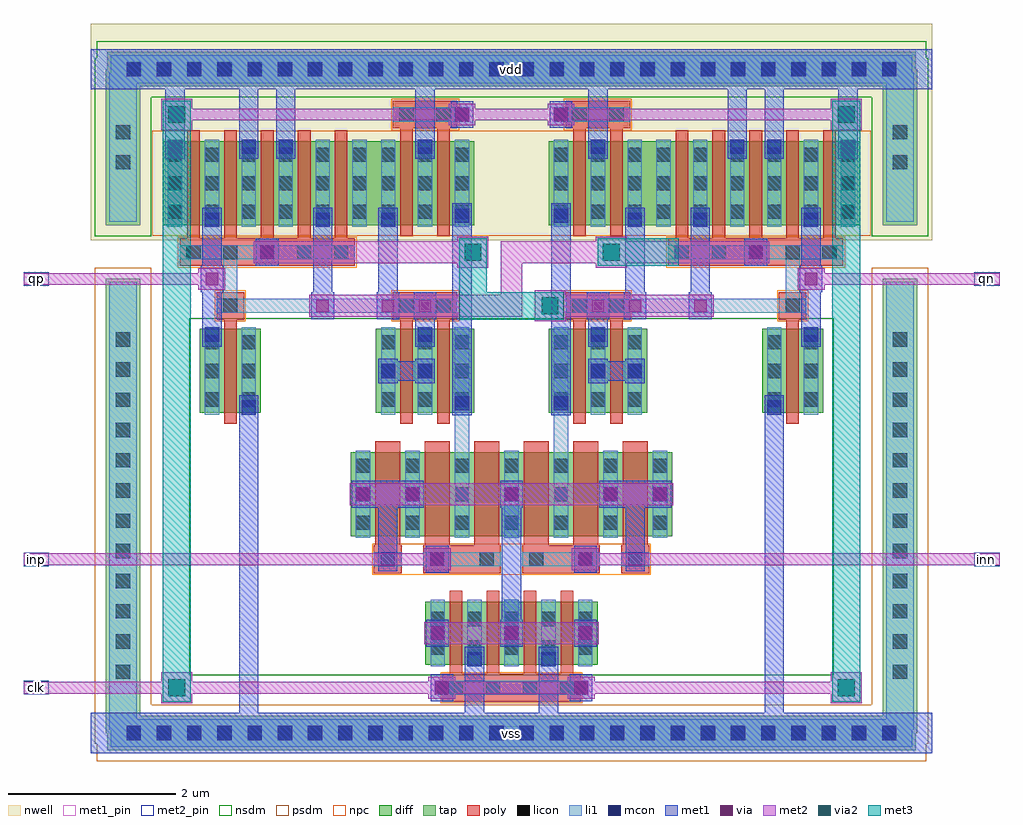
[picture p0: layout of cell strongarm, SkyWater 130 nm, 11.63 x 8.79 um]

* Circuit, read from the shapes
.subckt strongarm clk inn inp qn qp vdd vss
XM1 vss n1 qp vss sky130_fd_pr__nfet_01v8 w=1 l=0.15
XM2 n2 n2 n2 vss sky130_fd_pr__nfet_01v8 w=1 l=0.3 m=2
XM3 n3 n1 n3 vss sky130_fd_pr__nfet_01v8 w=1 l=0.15
XM4 n4 inp n2 vss sky130_fd_pr__nfet_01v8 w=1 l=0.3 m=2
XM5 n4 n1 n3 vss sky130_fd_pr__nfet_01v8 w=1 l=0.15
XM6 vss clk n2 vss sky130_fd_pr__nfet_01v8 w=0.75 l=0.15 m=4
XM7 n5 inn n2 vss sky130_fd_pr__nfet_01v8 w=1 l=0.3 m=2
XM8 n1 n3 n5 vss sky130_fd_pr__nfet_01v8 w=1 l=0.15
XM9 n1 n3 n1 vss sky130_fd_pr__nfet_01v8 w=1 l=0.15
XM10 qn n3 vss vss sky130_fd_pr__nfet_01v8 w=1 l=0.15
XM11 qp n1 vdd vdd sky130_fd_pr__pfet_01v8 w=1 l=0.15 m=2
XM12 vdd n1 vdd vdd sky130_fd_pr__pfet_01v8 w=1 l=0.15
XM13 n3 n1 vdd vdd sky130_fd_pr__pfet_01v8 w=1 l=0.15
XM14 n3 n1 n3 vdd sky130_fd_pr__pfet_01v8 w=1 l=0.15
XM15 vdd clk n3 vdd sky130_fd_pr__pfet_01v8 w=1 l=0.15
XM16 n4 clk vdd vdd sky130_fd_pr__pfet_01v8 w=1 l=0.15
XM17 vdd clk n5 vdd sky130_fd_pr__pfet_01v8 w=1 l=0.15
XM18 n1 clk vdd vdd sky130_fd_pr__pfet_01v8 w=1 l=0.15
XM19 n1 n3 n1 vdd sky130_fd_pr__pfet_01v8 w=1 l=0.15
XM20 vdd n3 n1 vdd sky130_fd_pr__pfet_01v8 w=1 l=0.15
XM21 vdd n3 vdd vdd sky130_fd_pr__pfet_01v8 w=1 l=0.15
XM22 qn n3 vdd vdd sky130_fd_pr__pfet_01v8 w=1 l=0.15 m=2
.ends

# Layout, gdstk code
import gdstk
lib = gdstk.Library(unit=1e-6, precision=1e-09)
def R(c, l, rs):  # rectangles x0, y0, x1, y1
    for r in rs: c.add(gdstk.rectangle(r[:2], r[2:], *l))
def A(c, l, x, y, w, h, nx, ny, dx, dy):  # array of equal rectangles
    R(c, l, [(x+i*dx, y+j*dy, x+i*dx+w, y+j*dy+h) for i in range(nx) for j in range(ny)])
nwell = (64, 20)
diff = (65, 20)
tap = (65, 44)
poly = (66, 20)
licon = (66, 44)
li1 = (67, 20)
mcon = (67, 44)
met1_pin = (68, 16)
met1 = (68, 20)
via = (68, 44)
met2_pin = (69, 16)
met2 = (69, 20)
via2 = (69, 44)
met3 = (70, 20)
nsdm = (93, 44)
psdm = (94, 20)
npc = (95, 20)

strongarm = lib.new_cell('strongarm')
R(strongarm, nwell, [(-5.015,6.11,5.015,8.69)])
A(strongarm, diff, -1.025, 1.055, 0.73, 0.75, 4, 1, 0.44, 0)
A(strongarm, diff, -1.915, 2.585, 0.88, 1, 6, 1, 0.59, 0)
A(strongarm, diff, -4.155, 6.29, 0.73, 1, 5, 1, 0.44, 0)
A(strongarm, diff, 1.665, 6.29, 0.73, 1, 5, 1, 0.44, 0)
R(strongarm, diff, [(-3.715,4.055,-2.985,5.055), (-1.615,4.055,-0.885,5.055), (-1.175,4.055,-0.445,5.055), (0.445,4.055,1.175,5.055), (0.885,4.055,1.615,5.055), (2.985,4.055,3.715,5.055), (-1.675,6.29,-1.605,7.29), (-1.615,6.29,-0.885,7.29), (-1.175,6.29,-0.445,7.29), (0.445,6.29,1.175,7.29), (0.885,6.29,1.615,7.29), (1.605,6.29,1.675,7.29)])
R(strongarm, tap, [(-4.815,0.035,4.815,0.445), (-4.835,0.24,-4.425,5.655), (4.425,0.24,4.835,5.655), (-4.835,6.29,-4.425,8.15), (4.425,6.29,4.835,8.15), (-4.815,7.945,4.815,8.355)])
A(strongarm, poly, -0.825, 0.615, 0.33, 0.33, 4, 1, 0.44, 0)
A(strongarm, poly, -0.505, 0.615, 0.13, 0.33, 3, 1, 0.44, 0)
A(strongarm, poly, -0.735, 0.945, 0.15, 0.99, 4, 1, 0.44, 0)
A(strongarm, poly, -1.64, 2.145, 0.33, 0.33, 6, 1, 0.59, 0)
A(strongarm, poly, -1.625, 2.475, 0.3, 1.24, 6, 1, 0.59, 0)
A(strongarm, poly, -3.955, 5.805, 0.33, 0.33, 5, 1, 0.44, 0)
A(strongarm, poly, -3.635, 5.805, 0.13, 0.33, 4, 1, 0.44, 0)
A(strongarm, poly, 1.865, 5.805, 0.33, 0.33, 5, 1, 0.44, 0)
A(strongarm, poly, 2.185, 5.805, 0.13, 0.33, 4, 1, 0.44, 0)
A(strongarm, poly, -3.865, 6.135, 0.15, 1.285, 5, 1, 0.44, 0)
A(strongarm, poly, 1.955, 6.135, 0.15, 1.285, 5, 1, 0.44, 0)
R(strongarm, poly, [(-0.73,2.145,-0.45,2.475), (0.45,2.145,0.73,2.475), (-3.425,3.925,-3.275,5.165), (-1.325,3.925,-1.175,5.165), (-0.885,3.925,-0.735,5.165), (0.735,3.925,0.885,5.165), (1.175,3.925,1.325,5.165), (3.275,3.925,3.425,5.165), (-3.515,5.165,-3.185,5.495), (-1.415,5.165,-1.085,5.495), (-1.095,5.165,-0.965,5.495), (-0.975,5.165,-0.645,5.495), (0.645,5.165,0.975,5.495), (0.965,5.165,1.095,5.495), (1.085,5.165,1.415,5.495), (3.185,5.165,3.515,5.495), (-1.325,6.16,-1.175,7.445), (-0.885,6.16,-0.735,7.445), (0.735,6.16,0.885,7.445), (1.175,6.16,1.325,7.445), (-1.415,7.445,-1.085,7.775), (-1.095,7.445,-0.965,7.775), (-0.975,7.445,-0.645,7.775), (0.645,7.445,0.975,7.775), (0.965,7.445,1.095,7.775), (1.085,7.445,1.415,7.775)])
A(strongarm, licon, -4.585, 0.155, 0.17, 0.17, 26, 2, 0.36, 7.91)
A(strongarm, licon, -0.745, 0.695, 0.17, 0.17, 4, 1, 0.44, 0)
A(strongarm, licon, -4.715, 0.885, 0.17, 0.17, 1, 12, 0, 0.36)
A(strongarm, licon, 4.545, 0.885, 0.17, 0.17, 1, 12, 0, 0.36)
A(strongarm, licon, -1.56, 2.225, 0.17, 0.17, 6, 1, 0.59, 0)
A(strongarm, licon, -1.855, 2.66, 0.17, 0.17, 1, 3, 0, 0.34)
A(strongarm, licon, 1.685, 2.66, 0.17, 0.17, 1, 3, 0, 0.34)
A(strongarm, licon, -3.655, 4.13, 0.17, 0.17, 1, 3, 0, 0.34)
A(strongarm, licon, -3.215, 4.13, 0.17, 0.17, 1, 3, 0, 0.34)
A(strongarm, licon, -1.555, 4.13, 0.17, 0.17, 1, 3, 0, 0.34)
A(strongarm, licon, -0.675, 4.13, 0.17, 0.17, 1, 3, 0, 0.34)
A(strongarm, licon, 0.505, 4.13, 0.17, 0.17, 1, 3, 0, 0.34)
A(strongarm, licon, 1.385, 4.13, 0.17, 0.17, 1, 3, 0, 0.34)
A(strongarm, licon, 3.045, 4.13, 0.17, 0.17, 1, 3, 0, 0.34)
A(strongarm, licon, 3.485, 4.13, 0.17, 0.17, 1, 3, 0, 0.34)
A(strongarm, licon, -3.875, 5.885, 0.17, 0.17, 5, 1, 0.44, 0)
A(strongarm, licon, 1.945, 5.885, 0.17, 0.17, 5, 1, 0.44, 0)
A(strongarm, licon, -4.095, 6.365, 0.17, 0.17, 1, 3, 0, 0.34)
A(strongarm, licon, -1.895, 6.365, 0.17, 0.17, 1, 3, 0, 0.34)
A(strongarm, licon, -1.555, 6.365, 0.17, 0.17, 1, 3, 0, 0.34)
A(strongarm, licon, -0.675, 6.365, 0.17, 0.17, 1, 3, 0, 0.34)
A(strongarm, licon, 0.505, 6.365, 0.17, 0.17, 1, 3, 0, 0.34)
A(strongarm, licon, 1.385, 6.365, 0.17, 0.17, 1, 3, 0, 0.34)
A(strongarm, licon, 1.725, 6.365, 0.17, 0.17, 1, 3, 0, 0.34)
A(strongarm, licon, 3.925, 6.365, 0.17, 0.17, 1, 3, 0, 0.34)
R(strongarm, licon, [(-0.965,1.175,-0.795,1.345), (-0.525,1.175,-0.355,1.345), (-0.525,1.175,-0.355,1.345), (-0.085,1.175,0.085,1.345), (-0.085,1.175,0.085,1.345), (0.355,1.175,0.525,1.345), (0.355,1.175,0.525,1.345), (0.795,1.175,0.965,1.345), (-0.965,1.515,-0.795,1.685), (-0.525,1.515,-0.355,1.685), (-0.525,1.515,-0.355,1.685), (-0.085,1.515,0.085,1.685), (-0.085,1.515,0.085,1.685), (0.355,1.515,0.525,1.685), (0.355,1.515,0.525,1.685), (0.795,1.515,0.965,1.685), (-1.265,2.66,-1.095,2.83), (-1.265,2.66,-1.095,2.83), (-0.675,2.66,-0.505,2.83), (-0.675,2.66,-0.505,2.83), (-0.085,2.66,0.085,2.83), (-0.085,2.66,0.085,2.83), (0.505,2.66,0.675,2.83), (0.505,2.66,0.675,2.83), (1.095,2.66,1.265,2.83), (1.095,2.66,1.265,2.83), (-1.265,3,-1.095,3.17), (-1.265,3,-1.095,3.17), (-0.675,3,-0.505,3.17), (-0.675,3,-0.505,3.17), (-0.085,3,0.085,3.17), (-0.085,3,0.085,3.17), (0.505,3,0.675,3.17), (0.505,3,0.675,3.17), (1.095,3,1.265,3.17), (1.095,3,1.265,3.17), (-1.265,3.34,-1.095,3.51), (-1.265,3.34,-1.095,3.51), (-0.675,3.34,-0.505,3.51), (-0.675,3.34,-0.505,3.51), (-0.085,3.34,0.085,3.51), (-0.085,3.34,0.085,3.51), (0.505,3.34,0.675,3.51), (0.505,3.34,0.675,3.51), (1.095,3.34,1.265,3.51), (1.095,3.34,1.265,3.51), (-1.115,4.13,-0.945,4.3), (-1.115,4.13,-0.945,4.3), (0.945,4.13,1.115,4.3), (0.945,4.13,1.115,4.3), (-1.115,4.47,-0.945,4.64), (-1.115,4.47,-0.945,4.64), (0.945,4.47,1.115,4.64), (0.945,4.47,1.115,4.64), (-1.115,4.81,-0.945,4.98), (-1.115,4.81,-0.945,4.98), (0.945,4.81,1.115,4.98), (0.945,4.81,1.115,4.98), (-3.435,5.245,-3.265,5.415), (-1.335,5.245,-1.165,5.415), (-0.895,5.245,-0.725,5.415), (0.725,5.245,0.895,5.415), (1.165,5.245,1.335,5.415), (3.265,5.245,3.435,5.415), (-3.655,6.365,-3.485,6.535), (-3.655,6.365,-3.485,6.535), (-3.215,6.365,-3.045,6.535), (-3.215,6.365,-3.045,6.535), (-2.775,6.365,-2.605,6.535), (-2.775,6.365,-2.605,6.535), (-2.335,6.365,-2.165,6.535), (-2.335,6.365,-2.165,6.535), (-1.115,6.365,-0.945,6.535), (-1.115,6.365,-0.945,6.535), (0.945,6.365,1.115,6.535), (0.945,6.365,1.115,6.535), (2.165,6.365,2.335,6.535), (2.165,6.365,2.335,6.535), (2.605,6.365,2.775,6.535), (2.605,6.365,2.775,6.535), (3.045,6.365,3.215,6.535), (3.045,6.365,3.215,6.535), (3.485,6.365,3.655,6.535), (3.485,6.365,3.655,6.535), (-3.655,6.705,-3.485,6.875), (-3.655,6.705,-3.485,6.875), (-3.215,6.705,-3.045,6.875), (-3.215,6.705,-3.045,6.875), (-2.775,6.705,-2.605,6.875), (-2.775,6.705,-2.605,6.875), (-2.335,6.705,-2.165,6.875), (-2.335,6.705,-2.165,6.875), (-1.115,6.705,-0.945,6.875), (-1.115,6.705,-0.945,6.875), (0.945,6.705,1.115,6.875), (0.945,6.705,1.115,6.875), (2.165,6.705,2.335,6.875), (2.165,6.705,2.335,6.875), (2.605,6.705,2.775,6.875), (2.605,6.705,2.775,6.875), (3.045,6.705,3.215,6.875), (3.045,6.705,3.215,6.875), (3.485,6.705,3.655,6.875), (3.485,6.705,3.655,6.875), (-4.715,6.955,-4.545,7.125), (4.545,6.955,4.715,7.125), (-3.655,7.045,-3.485,7.215), (-3.655,7.045,-3.485,7.215), (-3.215,7.045,-3.045,7.215), (-3.215,7.045,-3.045,7.215), (-2.775,7.045,-2.605,7.215), (-2.775,7.045,-2.605,7.215), (-2.335,7.045,-2.165,7.215), (-2.335,7.045,-2.165,7.215), (-1.115,7.045,-0.945,7.215), (-1.115,7.045,-0.945,7.215), (0.945,7.045,1.115,7.215), (0.945,7.045,1.115,7.215), (2.165,7.045,2.335,7.215), (2.165,7.045,2.335,7.215), (2.605,7.045,2.775,7.215), (2.605,7.045,2.775,7.215), (3.045,7.045,3.215,7.215), (3.045,7.045,3.215,7.215), (3.485,7.045,3.655,7.215), (3.485,7.045,3.655,7.215), (-4.715,7.315,-4.545,7.485), (4.545,7.315,4.715,7.485), (-1.335,7.525,-1.165,7.695), (-0.895,7.525,-0.725,7.695), (0.725,7.525,0.895,7.695), (1.165,7.525,1.335,7.695)])
A(strongarm, li1, -0.825, 0.695, 0.33, 0.17, 4, 1, 0.44, 0)
A(strongarm, li1, -0.505, 0.695, 0.13, 0.17, 3, 1, 0.44, 0)
A(strongarm, li1, -1.64, 2.225, 0.33, 0.17, 6, 1, 0.59, 0)
A(strongarm, li1, -3.955, 5.885, 0.33, 0.17, 5, 1, 0.44, 0)
A(strongarm, li1, -3.635, 5.885, 0.13, 0.17, 4, 1, 0.44, 0)
A(strongarm, li1, 1.865, 5.885, 0.33, 0.17, 5, 1, 0.44, 0)
A(strongarm, li1, 2.185, 5.885, 0.13, 0.17, 4, 1, 0.44, 0)
R(strongarm, li1, [(-4.775,0.075,4.775,0.405), (-4.795,0.28,-4.465,5.615), (4.465,0.28,4.795,5.615), (-0.915,0.695,0.915,0.865), (-0.965,1.035,-0.795,1.825), (-0.525,1.035,-0.355,1.825), (-0.525,1.035,-0.355,1.825), (-0.085,1.035,0.085,1.825), (-0.085,1.035,0.085,1.825), (0.355,1.035,0.525,1.825), (0.355,1.035,0.525,1.825), (0.795,1.035,0.965,1.825), (-0.73,2.225,-0.45,2.395), (0.45,2.225,0.73,2.395), (-1.855,2.565,-1.685,3.605), (-1.265,2.565,-1.095,3.605), (-1.265,2.565,-1.095,3.605), (-0.675,2.565,-0.505,3.605), (-0.675,2.565,-0.505,3.605), (-0.085,2.565,0.085,3.605), (-0.085,2.565,0.085,3.605), (0.505,2.565,0.675,3.605), (0.505,2.565,0.675,3.605), (1.095,2.565,1.265,3.605), (1.095,2.565,1.265,3.605), (1.685,2.565,1.855,3.605), (-0.675,3.595,-0.505,4.045), (0.505,3.595,0.675,4.045), (-3.655,4.035,-3.485,5.075), (-3.215,4.035,-3.045,5.075), (-1.555,4.035,-1.385,5.075), (-1.115,4.035,-0.945,5.075), (-1.115,4.035,-0.945,5.075), (-0.675,4.035,-0.505,5.075), (0.505,4.035,0.675,5.075), (0.945,4.035,1.115,5.075), (0.945,4.035,1.115,5.075), (1.385,4.035,1.555,5.075), (3.045,4.035,3.215,5.075), (3.485,4.035,3.655,5.075), (-3.515,5.245,-3.185,5.415), (-3.435,5.245,-0.725,5.415), (-1.415,5.245,-1.085,5.415), (-1.095,5.245,-0.965,5.415), (-0.975,5.245,-0.645,5.415), (0.645,5.245,0.975,5.415), (0.725,5.245,3.435,5.415), (0.965,5.245,1.095,5.415), (1.085,5.245,1.415,5.415), (3.185,5.245,3.515,5.415), (-3.435,5.33,-3.265,5.97), (3.265,5.33,3.435,5.97), (-3.875,5.885,-1.945,6.055), (1.945,5.885,3.875,6.055), (-4.095,6.27,-3.925,7.31), (-3.655,6.27,-3.485,7.31), (-3.655,6.27,-3.485,7.31), (-3.215,6.27,-3.045,7.31), (-3.215,6.27,-3.045,7.31), (-2.775,6.27,-2.605,7.31), (-2.775,6.27,-2.605,7.31), (-2.335,6.27,-2.165,7.31), (-2.335,6.27,-2.165,7.31), (-1.895,6.27,-1.725,7.31), (-1.555,6.27,-1.385,7.31), (-1.115,6.27,-0.945,7.31), (-1.115,6.27,-0.945,7.31), (-0.675,6.27,-0.505,7.31), (0.505,6.27,0.675,7.31), (0.945,6.27,1.115,7.31), (0.945,6.27,1.115,7.31), (1.385,6.27,1.555,7.31), (1.725,6.27,1.895,7.31), (2.165,6.27,2.335,7.31), (2.165,6.27,2.335,7.31), (2.605,6.27,2.775,7.31), (2.605,6.27,2.775,7.31), (3.045,6.27,3.215,7.31), (3.045,6.27,3.215,7.31), (3.485,6.27,3.655,7.31), (3.485,6.27,3.655,7.31), (3.925,6.27,4.095,7.31), (-4.795,6.33,-4.465,8.11), (4.465,6.33,4.795,8.11), (-1.415,7.525,-1.085,7.695), (-1.335,7.525,-0.505,7.695), (-1.095,7.525,-0.965,7.695), (-0.975,7.525,-0.645,7.695), (0.505,7.525,1.335,7.695), (0.645,7.525,0.975,7.695), (0.965,7.525,1.095,7.695), (1.085,7.525,1.415,7.695), (-4.775,7.985,4.775,8.315)])
A(strongarm, mcon, -4.585, 0.155, 0.17, 0.17, 26, 2, 0.36, 7.91)
A(strongarm, mcon, -0.965, 1.345, 0.17, 0.17, 3, 1, 0.88, 0)
A(strongarm, mcon, -1.265, 3, 0.17, 0.17, 3, 1, 1.18, 0)
R(strongarm, mcon, [(-0.915,0.695,-0.745,0.865), (0.745,0.695,0.915,0.865), (-0.525,1.035,-0.355,1.205), (0.355,1.035,0.525,1.205), (-1.56,2.225,-1.39,2.395), (-0.97,2.225,-0.8,2.395), (0.795,2.225,0.965,2.395), (1.39,2.225,1.56,2.395), (-1.855,3,-1.685,3.17), (1.685,3,1.855,3.17), (-3.215,4.035,-3.045,4.205), (3.045,4.035,3.215,4.205), (-0.675,4.085,-0.505,4.255), (0.505,4.085,0.675,4.255), (-1.555,4.47,-1.385,4.64), (-1.115,4.47,-0.945,4.64), (0.945,4.47,1.115,4.64), (1.385,4.47,1.555,4.64), (-3.655,4.905,-3.485,5.075), (-1.115,4.905,-0.945,5.075), (0.945,4.905,1.115,5.075), (3.485,4.905,3.655,5.075), (-2.995,5.885,-2.825,6.055), (2.825,5.885,2.995,6.055), (-3.655,6.27,-3.485,6.44), (-2.335,6.27,-2.165,6.44), (-1.555,6.27,-1.385,6.44), (1.385,6.27,1.555,6.44), (2.165,6.27,2.335,6.44), (3.485,6.27,3.655,6.44), (-0.675,6.32,-0.505,6.49), (0.505,6.32,0.675,6.49), (-4.095,7.14,-3.925,7.31), (-3.215,7.14,-3.045,7.31), (-2.775,7.14,-2.605,7.31), (-1.115,7.14,-0.945,7.31), (0.945,7.14,1.115,7.31), (2.605,7.14,2.775,7.31), (3.045,7.14,3.215,7.31), (3.925,7.14,4.095,7.31), (-0.675,7.525,-0.505,7.695), (0.505,7.525,0.675,7.695)])
R(strongarm, met1_pin, [(-0.15,0.16,0.15,0.32), (-0.15,8.07,0.15,8.23)])
A(strongarm, met1, -1.015, 1.27, 0.27, 0.32, 3, 1, 0.88, 0)
A(strongarm, met1, -1.315, 2.925, 0.27, 0.32, 3, 1, 1.18, 0)
R(strongarm, met1, [(-5.015,0,5.015,0.48), (-3.245,0.24,-3.015,4.205), (-0.555,0.24,-0.325,1.205), (0.325,0.24,0.555,1.205), (3.015,0.24,3.245,4.205), (-0.965,0.62,-0.695,0.94), (0.695,0.62,0.965,0.94), (-0.555,0.975,-0.325,1.265), (0.325,0.975,0.555,1.265), (-0.115,1.43,0.115,3.085), (-1.02,2.15,-0.75,2.47), (-1.02,2.15,-0.75,2.47), (0.745,2.15,1.015,2.47), (0.745,2.15,1.015,2.47), (-1.59,2.165,-1.36,2.455), (1.36,2.165,1.59,2.455), (-1.59,2.31,-1.36,3.085), (1.36,2.31,1.59,3.085), (-1.905,2.925,-1.635,3.245), (-1.77,2.925,-1.18,3.245), (1.18,2.925,1.77,3.245), (1.635,2.925,1.905,3.245), (-3.245,3.975,-3.015,4.265), (3.015,3.975,3.245,4.265), (-0.705,4.025,-0.475,4.315), (0.475,4.025,0.705,4.315), (-0.705,4.085,-0.475,6.49), (0.475,4.085,0.705,6.49), (-1.585,4.41,-1.355,4.7), (-1.145,4.41,-0.915,4.7), (0.915,4.41,1.145,4.7), (1.355,4.41,1.585,4.7), (-1.47,4.44,-1.03,4.67), (1.03,4.44,1.47,4.67), (-3.685,4.845,-3.455,5.135), (-1.145,4.845,-0.915,5.135), (0.915,4.845,1.145,5.135), (3.455,4.845,3.685,5.135), (-3.685,4.905,-3.455,6.44), (-1.145,4.905,-0.915,5.33), (0.915,4.905,1.145,5.33), (3.455,4.905,3.685,6.44), (-2.385,5.17,-2.115,5.49), (-2.365,5.17,-2.135,5.49), (-1.605,5.17,-1.335,5.49), (-1.585,5.17,-1.355,5.49), (-1.165,5.17,-0.895,5.49), (-1.145,5.17,-0.915,5.49), (0.895,5.17,1.165,5.49), (0.915,5.17,1.145,5.49), (1.335,5.17,1.605,5.49), (1.355,5.17,1.585,5.49), (2.115,5.17,2.385,5.49), (2.135,5.17,2.365,5.49), (-2.365,5.33,-2.135,6.44), (-1.585,5.33,-1.355,6.44), (1.355,5.33,1.585,6.44), (2.135,5.33,2.365,6.44), (-3.705,5.49,-3.435,5.81), (3.435,5.49,3.705,5.81), (-3.045,5.81,-2.775,6.13), (2.775,5.81,3.045,6.13), (-3.685,6.21,-3.455,6.5), (-2.365,6.21,-2.135,6.5), (-1.585,6.21,-1.355,6.5), (1.355,6.21,1.585,6.5), (2.135,6.21,2.365,6.5), (3.455,6.21,3.685,6.5), (-0.705,6.26,-0.475,6.55), (0.475,6.26,0.705,6.55), (-4.125,7.08,-3.895,7.37), (-3.245,7.08,-3.015,7.37), (-2.805,7.08,-2.575,7.37), (-1.145,7.08,-0.915,7.37), (0.915,7.08,1.145,7.37), (2.575,7.08,2.805,7.37), (3.015,7.08,3.245,7.37), (3.895,7.08,4.125,7.37), (-4.125,7.14,-3.895,8.15), (-3.245,7.14,-3.015,8.15), (-2.805,7.14,-2.575,8.15), (-1.145,7.14,-0.915,8.15), (0.915,7.14,1.145,8.15), (2.575,7.14,2.805,8.15), (3.015,7.14,3.245,8.15), (3.895,7.14,4.125,8.15), (-0.725,7.45,-0.455,7.77), (0.455,7.45,0.725,7.77), (-5.015,7.91,5.015,8.39)])
A(strongarm, via, -0.955, 1.355, 0.15, 0.15, 3, 1, 0.88, 0)
A(strongarm, via, -1.255, 3.01, 0.15, 0.15, 3, 1, 1.18, 0)
R(strongarm, via, [(-0.905,0.705,-0.755,0.855), (0.755,0.705,0.905,0.855), (-0.96,2.235,-0.81,2.385), (0.805,2.235,0.955,2.385), (-1.845,3.01,-1.695,3.16), (1.695,3.01,1.845,3.16), (-2.325,5.255,-2.175,5.405), (-1.545,5.255,-1.395,5.405), (-1.105,5.255,-0.955,5.405), (0.955,5.255,1.105,5.405), (1.395,5.255,1.545,5.405), (2.175,5.255,2.325,5.405), (-3.645,5.575,-3.495,5.725), (3.495,5.575,3.645,5.725), (-2.985,5.895,-2.835,6.045), (2.835,5.895,2.985,6.045), (-0.665,7.535,-0.515,7.685), (0.515,7.535,0.665,7.685)])
R(strongarm, met2_pin, [(-5.815,0.7,-5.515,0.86), (-5.815,2.23,-5.515,2.39), (5.515,2.23,5.815,2.39), (-5.815,5.57,-5.515,5.73), (5.515,5.57,5.815,5.73)])
A(strongarm, met2, -1.04, 1.3, 0.32, 0.26, 3, 1, 0.88, 0)
A(strongarm, met2, -1.34, 2.955, 0.32, 0.26, 3, 1, 1.18, 0)
R(strongarm, met2, [(-4.175,0.595,-3.805,0.965), (3.805,0.595,4.175,0.965), (-0.99,0.65,-0.67,0.91), (0.67,0.65,0.99,0.91), (-5.815,0.71,3.99,0.85), (-0.88,1.3,0.88,1.56), (-1.045,2.18,-0.725,2.44), (0.72,2.18,1.04,2.44), (-5.815,2.24,-0.885,2.38), (0.88,2.24,5.815,2.38), (-1.93,2.955,-1.61,3.215), (-1.77,2.955,1.77,3.215), (1.61,2.955,1.93,3.215), (0.275,5.145,0.645,5.515), (-2.41,5.2,-2.09,5.46), (-2.25,5.2,0,5.46), (-1.63,5.2,-1.31,5.46), (-1.19,5.2,-0.87,5.46), (-0.13,5.2,0.13,6.1), (0.46,5.2,2.25,5.46), (0.87,5.2,1.19,5.46), (1.31,5.2,1.63,5.46), (2.09,5.2,2.41,5.46), (-3.73,5.52,-3.41,5.78), (3.41,5.52,3.73,5.78), (-5.815,5.58,-3.57,5.72), (3.57,5.58,5.815,5.72), (-0.645,5.785,-0.275,6.155), (1.005,5.785,1.375,6.155), (-3.07,5.84,-2.75,6.1), (-2.91,5.84,-0.46,6.1), (0,5.84,2.91,6.1), (2.75,5.84,3.07,6.1), (-4.175,7.425,-3.805,7.795), (3.805,7.425,4.175,7.795), (-0.75,7.48,-0.43,7.74), (0.43,7.48,0.75,7.74), (-3.99,7.54,3.99,7.68)])
R(strongarm, via2, [(-4.09,0.68,-3.89,0.88), (3.89,0.68,4.09,0.88), (0.36,5.23,0.56,5.43), (-0.56,5.87,-0.36,6.07), (1.09,5.87,1.29,6.07), (-4.09,7.51,-3.89,7.71), (3.89,7.51,4.09,7.71)])
R(strongarm, met3, [(-4.155,0.615,-3.825,0.945), (3.825,0.615,4.155,0.945), (-4.155,0.78,-3.825,7.61), (3.825,0.78,4.155,7.61), (-0.625,5.165,-0.295,6.135), (-0.625,5.165,0.625,5.495), (0.295,5.165,0.625,5.495), (-0.625,5.805,-0.295,6.135), (1.025,5.805,1.355,6.135), (1.025,5.805,1.99,6.135), (-4.155,7.445,-3.825,7.775), (3.825,7.445,4.155,7.775)])
A(strongarm, nsdm, -1.15, 0.93, 0.98, 1, 4, 1, 0.44, 0)
A(strongarm, nsdm, -2.04, 2.46, 1.13, 1.25, 6, 1, 0.59, 0)
R(strongarm, nsdm, [(-3.84,0.93,3.84,5.18), (-3.84,3.93,-2.86,5.18), (-1.74,3.93,-0.76,5.18), (-1.3,3.93,-0.32,5.18), (0.32,3.93,1.3,5.18), (0.76,3.93,1.74,5.18), (2.86,3.93,3.84,5.18), (-4.965,6.16,-4.295,8.28), (4.295,6.16,4.965,8.28), (-4.945,7.815,4.945,8.485)])
A(strongarm, psdm, -4.28, 6.165, 0.98, 1.25, 5, 1, 0.44, 0)
A(strongarm, psdm, 1.54, 6.165, 0.98, 1.25, 5, 1, 0.44, 0)
R(strongarm, psdm, [(-4.945,-0.095,4.945,0.575), (-4.965,0.11,-4.295,5.785), (4.295,0.11,4.965,5.785), (-4.28,6.165,4.28,7.415), (-1.74,6.165,-0.76,7.415), (-1.3,6.165,-0.32,7.415), (0.32,6.165,1.3,7.415), (0.76,6.165,1.74,7.415)])
A(strongarm, npc, -0.845, 0.595, 0.37, 0.37, 4, 1, 0.44, 0)
A(strongarm, npc, -0.485, 0.595, 0.09, 0.37, 3, 1, 0.44, 0)
A(strongarm, npc, -1.66, 2.125, 0.37, 0.37, 6, 1, 0.59, 0)
A(strongarm, npc, -1.3, 2.125, 0.24, 0.37, 5, 1, 0.59, 0)
A(strongarm, npc, -3.975, 5.785, 0.37, 0.37, 5, 1, 0.44, 0)
A(strongarm, npc, -3.615, 5.785, 0.09, 0.37, 4, 1, 0.44, 0)
A(strongarm, npc, 1.845, 5.785, 0.37, 0.37, 5, 1, 0.44, 0)
A(strongarm, npc, 2.205, 5.785, 0.09, 0.37, 4, 1, 0.44, 0)
R(strongarm, npc, [(-3.535,5.145,-3.165,5.515), (-1.435,5.145,-1.065,5.515), (-1.075,5.145,-0.985,5.515), (-0.995,5.145,-0.625,5.515), (0.625,5.145,0.995,5.515), (0.985,5.145,1.075,5.515), (1.065,5.145,1.435,5.515), (3.165,5.145,3.535,5.515), (-1.435,7.425,-1.065,7.795), (-1.075,7.425,-0.985,7.795), (-0.995,7.425,-0.625,7.795), (0.625,7.425,0.995,7.795), (0.985,7.425,1.075,7.795), (1.065,7.425,1.435,7.795)])
strongarm.add(gdstk.Label('inp', (-5.665,2.31), layer=69, texttype=5))
strongarm.add(gdstk.Label('inn', (5.665,2.31), layer=69, texttype=5))
strongarm.add(gdstk.Label('qp', (-5.665,5.65), layer=69, texttype=5))
strongarm.add(gdstk.Label('qn', (5.665,5.65), layer=69, texttype=5))
strongarm.add(gdstk.Label('clk', (-5.665,0.78), layer=69, texttype=5))
strongarm.add(gdstk.Label('vss', (0,0.24), layer=68, texttype=5))
strongarm.add(gdstk.Label('vdd', (0,8.15), layer=68, texttype=5))

lib.write_gds('strongarm.gds')
